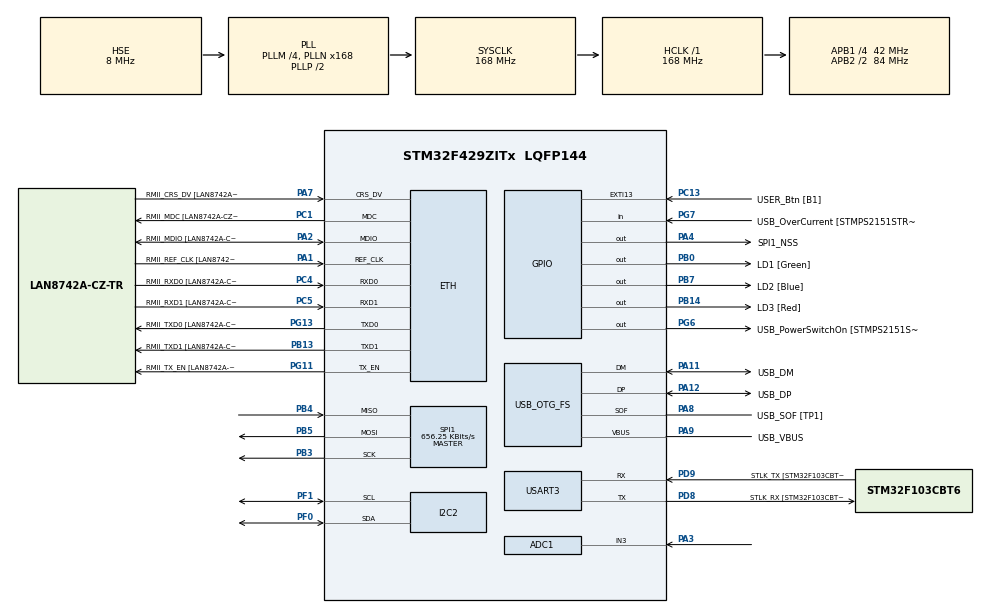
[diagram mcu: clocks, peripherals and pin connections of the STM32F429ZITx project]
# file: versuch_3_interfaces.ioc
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ADC1.Channel-0\#ChannelRegularConversion=ADC_CHANNEL_3
ADC1.ContinuousConvMode=ENABLE
ADC1.NbrOfConversionFlag=1
ADC1.Rank-0\#ChannelRegularConversion=1
ADC1.SamplingTime-0\#ChannelRegularConversion=ADC_SAMPLETIME_3CYCLES
ADC1.master=1
ETH.MediaInterface=HAL_ETH_RMII_MODE
ETH.PHY_Name=LAN8742A_PHY_ADDRESS
ETH.PHY_Value=0
ETH.PhyAddress=0
I2C2.I2C_Mode=I2C_Standard
Mcu.Family=STM32F4
Mcu.Name=STM32F429ZITx
Mcu.Package=LQFP144
NVIC.ADC_IRQn=true\:0\:0\:false\:false\:true\:true\:true\:true
NVIC.PriorityGroup=NVIC_PRIORITYGROUP_4
NVIC.SPI1_IRQn=true\:0\:0\:false\:false\:true\:true\:true\:true
PA1.GPIO_Label=RMII_REF_CLK [LAN8742A-CZ-TR_REFCLK0]
PA1.Mode=RMII
PA1.Signal=ETH_REF_CLK
PA10.GPIO_Label=USB_ID
PA10.Signal=USB_OTG_FS_ID
PA11.GPIO_Label=USB_DM
PA11.Mode=Device_Only
PA11.Signal=USB_OTG_FS_DM
PA12.GPIO_Label=USB_DP
PA12.Mode=Device_Only
PA12.Signal=USB_OTG_FS_DP
PA13.GPIO_Label=TMS
PA13.Mode=Serial_Wire
PA13.Signal=SYS_JTMS-SWDIO
PA14.GPIO_Label=TCK
PA14.Mode=Serial_Wire
PA14.Signal=SYS_JTCK-SWCLK
PA2.GPIO_Label=RMII_MDIO [LAN8742A-CZ-TR_MDIO]
PA2.Mode=RMII
PA2.Signal=ETH_MDIO
PA3.Signal=ADCx_IN3
PA4.GPIO_Label=SPI1_NSS
PA4.PinState=GPIO_PIN_SET
PA4.Signal=GPIO_Output
PA7.GPIO_Label=RMII_CRS_DV [LAN8742A-CZ-TR_CRS_DV]
PA7.Mode=RMII
PA7.Signal=ETH_CRS_DV
PA8.GPIO_Label=USB_SOF [TP1]
PA8.Mode=Activate_SOF_FS
PA8.Signal=USB_OTG_FS_SOF
PA9.GPIO_Label=USB_VBUS
PA9.Mode=Activate_VBUS
PA9.Signal=USB_OTG_FS_VBUS
PB0.GPIO_Label=LD1 [Green]
PB0.Signal=GPIO_Output
PB13.GPIO_Label=RMII_TXD1 [LAN8742A-CZ-TR_TXD1]
PB13.Mode=RMII
PB13.Signal=ETH_TXD1
PB14.GPIO_Label=LD3 [Red]
PB14.Signal=GPIO_Output
PB3.Mode=Full_Duplex_Master
PB3.Signal=SPI1_SCK
PB4.Mode=Full_Duplex_Master
PB4.Signal=SPI1_MISO
PB5.Mode=Full_Duplex_Master
PB5.Signal=SPI1_MOSI
PB7.GPIO_Label=LD2 [Blue]
PB7.Signal=GPIO_Output
PC1.GPIO_Label=RMII_MDC [LAN8742A-CZ-TR_MDC]
PC1.Mode=RMII
PC1.Signal=ETH_MDC
PC13.GPIO_Label=USER_Btn [B1]
PC13.Signal=GPXTI13
PC14/OSC32_IN.Mode=LSE-External-Oscillator
PC14/OSC32_IN.Signal=RCC_OSC32_IN
PC15/OSC32_OUT.Mode=LSE-External-Oscillator
PC15/OSC32_OUT.Signal=RCC_OSC32_OUT
PC4.GPIO_Label=RMII_RXD0 [LAN8742A-CZ-TR_RXD0]
PC4.Mode=RMII
PC4.Signal=ETH_RXD0
PC5.GPIO_Label=RMII_RXD1 [LAN8742A-CZ-TR_RXD1]
PC5.Mode=RMII
PC5.Signal=ETH_RXD1
PD8.GPIO_Label=STLK_RX [STM32F103CBT6_PA3]
PD8.Mode=Asynchronous
PD8.Signal=USART3_TX
PD9.GPIO_Label=STLK_TX [STM32F103CBT6_PA2]
PD9.Mode=Asynchronous
PD9.Signal=USART3_RX
PF0.Mode=I2C
PF0.Signal=I2C2_SDA
PF1.Mode=I2C
PF1.Signal=I2C2_SCL
PG11.GPIO_Label=RMII_TX_EN [LAN8742A-CZ-TR_TXEN]
PG11.Mode=RMII
PG11.Signal=ETH_TX_EN
PG13.GPIO_Label=RMII_TXD0 [LAN8742A-CZ-TR_TXD0]
PG13.Mode=RMII
PG13.Signal=ETH_TXD0
PG6.GPIO_Label=USB_PowerSwitchOn [STMPS2151STR_EN]
PG6.Signal=GPIO_Output
PG7.GPIO_Label=USB_OverCurrent [STMPS2151STR_FAULT]
PG7.Signal=GPIO_Input
PH0/OSC_IN.GPIO_Label=MCO [STM32F103CBT6_PA8]
PH0/OSC_IN.Mode=HSE-External-Clock-Source
PH0/OSC_IN.Signal=RCC_OSC_IN
PH1/OSC_OUT.Mode=HSE-External-Clock-Source
PH1/OSC_OUT.Signal=RCC_OSC_OUT
ProjectManager.HeapSize=0x200
ProjectManager.StackSize=0x400
ProjectManager.TargetToolchain=STM32CubeIDE
RCC.48MHZClocksFreq_Value=48000000
RCC.AHBFreq_Value=168000000
RCC.APB1CLKDivider=RCC_HCLK_DIV4
RCC.APB1Freq_Value=42000000
RCC.APB1TimFreq_Value=84000000
RCC.APB2CLKDivider=RCC_HCLK_DIV2
RCC.APB2Freq_Value=84000000
RCC.APB2TimCLKDivider=2
RCC.APB2TimFreq_Value=168000000
RCC.CortexFreq_Value=168000000
RCC.HCLKFreq_Value=168000000
RCC.HSE_VALUE=8000000
RCC.HSI_VALUE=16000000
RCC.PLLM=4
RCC.PLLMUL=RCC_PLL_MUL9
RCC.PLLN=168
RCC.PLLQ=7
RCC.PRESCALERUSB=RCC_USBCLKSOURCE_PLL_DIV1_5
RCC.SYSCLKFreq_VALUE=168000000
RCC.SYSCLKSource=RCC_SYSCLKSOURCE_PLLCLK
RCC.SYSCLKSourceVirtual=RCC_SYSCLKSOURCE_PLLCLK
RCC.USBFreq_Value=48000000
RCC.VCOOutputFreq_Value=336000000
SH.ADCx_IN3.0=ADC1_IN3,IN3
SPI1.BaudRatePrescaler=SPI_BAUDRATEPRESCALER_128
SPI1.CRCCalculation=SPI_CRCCALCULATION_DISABLE
SPI1.CalculateBaudRate=656.25 KBits/s
SPI1.DataSize=SPI_DATASIZE_8BIT
SPI1.Direction=SPI_DIRECTION_2LINES
SPI1.Mode=SPI_MODE_MASTER
SPI1.VirtualType=VM_MASTER
USART3.VirtualMode=VM_ASYNC
USB_OTG_FS.VirtualMode=Device_Only
board=NUCLEO-F429ZI

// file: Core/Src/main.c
/* USER CODE BEGIN Header */
/**
  ******************************************************************************
  * @file           : main.c
  * @brief          : Main program body
  ******************************************************************************
  * @attention
  *
  * Copyright (c) 2024 STMicroelectronics.
  * All rights reserved.
  *
  * This software is licensed under terms that can be found in the LICENSE file
  * in the root directory of this software component.
  * If no LICENSE file comes with this software, it is provided AS-IS.
  *
  ******************************************************************************
  */
/* USER CODE END Header */
#include "main.h"
#include "string.h"

/* USER CODE BEGIN Includes */
#include "lcd.h"
#include "bmp280.h"
#include <stdio.h>
#include <stdlib.h>
/* USER CODE END Includes */

ETH_TxPacketConfig TxConfig;
ETH_DMADescTypeDef  DMARxDscrTab[ETH_RX_DESC_CNT]; /* Ethernet Rx DMA Descriptors */
ETH_DMADescTypeDef  DMATxDscrTab[ETH_TX_DESC_CNT]; /* Ethernet Tx DMA Descriptors */

ADC_HandleTypeDef hadc1;

ETH_HandleTypeDef heth;

I2C_HandleTypeDef hi2c2;

SPI_HandleTypeDef hspi1;

UART_HandleTypeDef huart3;

PCD_HandleTypeDef hpcd_USB_OTG_FS;

/* USER CODE BEGIN PV */
static int adcVal;
static char msg[32];
BMP280_HandleTypedef hbmp280;
LCD_HandleTypeDef lcd;

static float temp;
static float press;
static float humid;

/* USER CODE END PV */

void SystemClock_Config(void);
static void MX_GPIO_Init(void);
static void MX_ETH_Init(void);
static void MX_USART3_UART_Init(void);
static void MX_USB_OTG_FS_PCD_Init(void);
static void MX_ADC1_Init(void);
static void MX_I2C2_Init(void);
static void MX_SPI1_Init(void);

int main(void)
{

  /* MCU Configuration--------------------------------------------------------*/

  /* Reset of all peripherals, Initializes the Flash interface and the Systick. */
  HAL_Init();

  /* Configure the system clock */
  SystemClock_Config();

  /* Initialize all configured peripherals */
  MX_GPIO_Init();
  MX_ETH_Init();
  MX_USART3_UART_Init();
  MX_USB_OTG_FS_PCD_Init();
  MX_ADC1_Init();
  MX_I2C2_Init();
  MX_SPI1_Init();
  /* USER CODE BEGIN 2 */

  int status=0;

  hbmp280.spi = &hspi1;
  bmp280_init_default_params(&hbmp280.params);
  status = status | bmp280_init(&hbmp280, &hbmp280.params);

  lcd.i2c = &hi2c2;
  lcd.backlight_enable = 1;
  lcd.i2c_addr = LCD_DEFAULT_ADDR;

  LCD_Begin(&lcd);
  LCD_Test(&lcd);
  LCD_Clear(&lcd);

  if(!status){
	  sprintf(msg, "BMP280 Com Error");
	  LCD_Print(&lcd, msg);
	  exit(1);

  }

  //LCD_SetCursor(&lcd, 0, 0);
  /* USER CODE END 2 */

  /* Infinite loop */
  /* USER CODE BEGIN WHILE */
  while (1)
  {

	  HAL_ADC_Start_IT(&hadc1);
	  LCD_Clear(&lcd);
	  sprintf(msg, "ADC: %d", adcVal);
	  LCD_Print(&lcd, msg);
	  LCD_SetCursor(&lcd, 1, 0);
	  sprintf(msg, "Temp:%.1f, Pre:%.1f, Humid:%.1f", temp, press, humid);
	  LCD_Print(&lcd, msg);
	  HAL_Delay(100);

	  //LCD_Print(&lcd, "asd");
	  /*HAL_ADC_Start_IT(&hadc1);
	  if (HAL_ADC_PollForConversion(&hadc1, HAL_MAX_DELAY) == HAL_OK){
		  adcVal = HAL_ADC_GetValue(&hadc1);
		  if (adcVal > 2047){
			  HAL_GPIO_WritePin(LD1_GPIO_Port, LD1_Pin, GPIO_PIN_SET);
		  }
		  else{
			  HAL_GPIO_WritePin(LD1_GPIO_Port, LD1_Pin, GPIO_PIN_RESET);
		  }
	  }
	  HAL_Delay(1000);
	  HAL_ADC_Stop(&hadc1);*/
    /* USER CODE END WHILE */

  }
}

void SystemClock_Config(void)
{
  RCC_OscInitTypeDef RCC_OscInitStruct = {0};
  RCC_ClkInitTypeDef RCC_ClkInitStruct = {0};

  /** Configure the main internal regulator output voltage
  */
  __HAL_RCC_PWR_CLK_ENABLE();
  __HAL_PWR_VOLTAGESCALING_CONFIG(PWR_REGULATOR_VOLTAGE_SCALE1);

  /** Initializes the RCC Oscillators according to the specified parameters
  * in the RCC_OscInitTypeDef structure.
  */
  RCC_OscInitStruct.OscillatorType = RCC_OSCILLATORTYPE_HSE;
  RCC_OscInitStruct.HSEState = RCC_HSE_BYPASS;
  RCC_OscInitStruct.PLL.PLLState = RCC_PLL_ON;
  RCC_OscInitStruct.PLL.PLLSource = RCC_PLLSOURCE_HSE;
  RCC_OscInitStruct.PLL.PLLM = 4;
  RCC_OscInitStruct.PLL.PLLN = 168;
  RCC_OscInitStruct.PLL.PLLP = RCC_PLLP_DIV2;
  RCC_OscInitStruct.PLL.PLLQ = 7;
  if (HAL_RCC_OscConfig(&RCC_OscInitStruct) != HAL_OK)
  {
    Error_Handler();
  }

  /** Initializes the CPU, AHB and APB buses clocks
  */
  RCC_ClkInitStruct.ClockType = RCC_CLOCKTYPE_HCLK|RCC_CLOCKTYPE_SYSCLK
                              |RCC_CLOCKTYPE_PCLK1|RCC_CLOCKTYPE_PCLK2;
  RCC_ClkInitStruct.SYSCLKSource = RCC_SYSCLKSOURCE_PLLCLK;
  RCC_ClkInitStruct.AHBCLKDivider = RCC_SYSCLK_DIV1;
  RCC_ClkInitStruct.APB1CLKDivider = RCC_HCLK_DIV4;
  RCC_ClkInitStruct.APB2CLKDivider = RCC_HCLK_DIV2;

  if (HAL_RCC_ClockConfig(&RCC_ClkInitStruct, FLASH_LATENCY_5) != HAL_OK)
  {
    Error_Handler();
  }
}

static void MX_ADC1_Init(void)
{

  ADC_ChannelConfTypeDef sConfig = {0};

  /** Configure the global features of the ADC (Clock, Resolution, Data Alignment and number of conversion)
  */
  hadc1.Instance = ADC1;
  hadc1.Init.ClockPrescaler = ADC_CLOCK_SYNC_PCLK_DIV4;
  hadc1.Init.Resolution = ADC_RESOLUTION_12B;
  hadc1.Init.ScanConvMode = DISABLE;
  hadc1.Init.ContinuousConvMode = ENABLE;
  hadc1.Init.DiscontinuousConvMode = DISABLE;
  hadc1.Init.ExternalTrigConvEdge = ADC_EXTERNALTRIGCONVEDGE_NONE;
  hadc1.Init.ExternalTrigConv = ADC_SOFTWARE_START;
  hadc1.Init.DataAlign = ADC_DATAALIGN_RIGHT;
  hadc1.Init.NbrOfConversion = 1;
  hadc1.Init.DMAContinuousRequests = DISABLE;
  hadc1.Init.EOCSelection = ADC_EOC_SINGLE_CONV;
  if (HAL_ADC_Init(&hadc1) != HAL_OK)
  {
    Error_Handler();
  }

  /** Configure for the selected ADC regular channel its corresponding rank in the sequencer and its sample time.
  */
  sConfig.Channel = ADC_CHANNEL_3;
  sConfig.Rank = 1;
  sConfig.SamplingTime = ADC_SAMPLETIME_3CYCLES;
  if (HAL_ADC_ConfigChannel(&hadc1, &sConfig) != HAL_OK)
  {
    Error_Handler();
  }

}

static void MX_ETH_Init(void)
{

   static uint8_t MACAddr[6];

  heth.Instance = ETH;
  MACAddr[0] = 0x00;
  MACAddr[1] = 0x80;
  MACAddr[2] = 0xE1;
  MACAddr[3] = 0x00;
  MACAddr[4] = 0x00;
  MACAddr[5] = 0x00;
  heth.Init.MACAddr = &MACAddr[0];
  heth.Init.MediaInterface = HAL_ETH_RMII_MODE;
  heth.Init.TxDesc = DMATxDscrTab;
  heth.Init.RxDesc = DMARxDscrTab;
  heth.Init.RxBuffLen = 1524;

  if (HAL_ETH_Init(&heth) != HAL_OK)
  {
    Error_Handler();
  }

  memset(&TxConfig, 0 , sizeof(ETH_TxPacketConfig));
  TxConfig.Attributes = ETH_TX_PACKETS_FEATURES_CSUM | ETH_TX_PACKETS_FEATURES_CRCPAD;
  TxConfig.ChecksumCtrl = ETH_CHECKSUM_IPHDR_PAYLOAD_INSERT_PHDR_CALC;
  TxConfig.CRCPadCtrl = ETH_CRC_PAD_INSERT;

}

static void MX_I2C2_Init(void)
{

  hi2c2.Instance = I2C2;
  hi2c2.Init.ClockSpeed = 100000;
  hi2c2.Init.DutyCycle = I2C_DUTYCYCLE_2;
  hi2c2.Init.OwnAddress1 = 0;
  hi2c2.Init.AddressingMode = I2C_ADDRESSINGMODE_7BIT;
  hi2c2.Init.DualAddressMode = I2C_DUALADDRESS_DISABLE;
  hi2c2.Init.OwnAddress2 = 0;
  hi2c2.Init.GeneralCallMode = I2C_GENERALCALL_DISABLE;
  hi2c2.Init.NoStretchMode = I2C_NOSTRETCH_DISABLE;
  if (HAL_I2C_Init(&hi2c2) != HAL_OK)
  {
    Error_Handler();
  }

  /** Configure Analogue filter
  */
  if (HAL_I2CEx_ConfigAnalogFilter(&hi2c2, I2C_ANALOGFILTER_ENABLE) != HAL_OK)
  {
    Error_Handler();
  }

  /** Configure Digital filter
  */
  if (HAL_I2CEx_ConfigDigitalFilter(&hi2c2, 0) != HAL_OK)
  {
    Error_Handler();
  }

}

static void MX_SPI1_Init(void)
{

  /* SPI1 parameter configuration*/
  hspi1.Instance = SPI1;
  hspi1.Init.Mode = SPI_MODE_MASTER;
  hspi1.Init.Direction = SPI_DIRECTION_2LINES;
  hspi1.Init.DataSize = SPI_DATASIZE_8BIT;
  hspi1.Init.CLKPolarity = SPI_POLARITY_LOW;
  hspi1.Init.CLKPhase = SPI_PHASE_1EDGE;
  hspi1.Init.NSS = SPI_NSS_SOFT;
  hspi1.Init.BaudRatePrescaler = SPI_BAUDRATEPRESCALER_128;
  hspi1.Init.FirstBit = SPI_FIRSTBIT_MSB;
  hspi1.Init.TIMode = SPI_TIMODE_DISABLE;
  hspi1.Init.CRCCalculation = SPI_CRCCALCULATION_DISABLE;
  hspi1.Init.CRCPolynomial = 10;
  if (HAL_SPI_Init(&hspi1) != HAL_OK)
  {
    Error_Handler();
  }

}

static void MX_USART3_UART_Init(void)
{

  huart3.Instance = USART3;
  huart3.Init.BaudRate = 115200;
  huart3.Init.WordLength = UART_WORDLENGTH_8B;
  huart3.Init.StopBits = UART_STOPBITS_1;
  huart3.Init.Parity = UART_PARITY_NONE;
  huart3.Init.Mode = UART_MODE_TX_RX;
  huart3.Init.HwFlowCtl = UART_HWCONTROL_NONE;
  huart3.Init.OverSampling = UART_OVERSAMPLING_16;
  if (HAL_UART_Init(&huart3) != HAL_OK)
  {
    Error_Handler();
  }

}

static void MX_USB_OTG_FS_PCD_Init(void)
{

  hpcd_USB_OTG_FS.Instance = USB_OTG_FS;
  hpcd_USB_OTG_FS.Init.dev_endpoints = 4;
  hpcd_USB_OTG_FS.Init.speed = PCD_SPEED_FULL;
  hpcd_USB_OTG_FS.Init.dma_enable = DISABLE;
  hpcd_USB_OTG_FS.Init.phy_itface = PCD_PHY_EMBEDDED;
  hpcd_USB_OTG_FS.Init.Sof_enable = ENABLE;
  hpcd_USB_OTG_FS.Init.low_power_enable = DISABLE;
  hpcd_USB_OTG_FS.Init.lpm_enable = DISABLE;
  hpcd_USB_OTG_FS.Init.vbus_sensing_enable = ENABLE;
  hpcd_USB_OTG_FS.Init.use_dedicated_ep1 = DISABLE;
  if (HAL_PCD_Init(&hpcd_USB_OTG_FS) != HAL_OK)
  {
    Error_Handler();
  }

}

static void MX_GPIO_Init(void)
{
  GPIO_InitTypeDef GPIO_InitStruct = {0};

  /* GPIO Ports Clock Enable */
  __HAL_RCC_GPIOC_CLK_ENABLE();
  __HAL_RCC_GPIOF_CLK_ENABLE();
  __HAL_RCC_GPIOH_CLK_ENABLE();
  __HAL_RCC_GPIOA_CLK_ENABLE();
  __HAL_RCC_GPIOB_CLK_ENABLE();
  __HAL_RCC_GPIOD_CLK_ENABLE();
  __HAL_RCC_GPIOG_CLK_ENABLE();

  /*Configure GPIO pin Output Level */
  HAL_GPIO_WritePin(SPI1_NSS_GPIO_Port, SPI1_NSS_Pin, GPIO_PIN_SET);

  /*Configure GPIO pin Output Level */
  HAL_GPIO_WritePin(GPIOB, LD1_Pin|LD3_Pin|LD2_Pin, GPIO_PIN_RESET);

  /*Configure GPIO pin Output Level */
  HAL_GPIO_WritePin(USB_PowerSwitchOn_GPIO_Port, USB_PowerSwitchOn_Pin, GPIO_PIN_RESET);

  /*Configure GPIO pin : USER_Btn_Pin */
  GPIO_InitStruct.Pin = USER_Btn_Pin;
  GPIO_InitStruct.Mode = GPIO_MODE_IT_RISING;
  GPIO_InitStruct.Pull = GPIO_NOPULL;
  HAL_GPIO_Init(USER_Btn_GPIO_Port, &GPIO_InitStruct);

  /*Configure GPIO pin : SPI1_NSS_Pin */
  GPIO_InitStruct.Pin = SPI1_NSS_Pin;
  GPIO_InitStruct.Mode = GPIO_MODE_OUTPUT_PP;
  GPIO_InitStruct.Pull = GPIO_NOPULL;
  GPIO_InitStruct.Speed = GPIO_SPEED_FREQ_LOW;
  HAL_GPIO_Init(SPI1_NSS_GPIO_Port, &GPIO_InitStruct);

  /*Configure GPIO pins : LD1_Pin LD3_Pin LD2_Pin */
  GPIO_InitStruct.Pin = LD1_Pin|LD3_Pin|LD2_Pin;
  GPIO_InitStruct.Mode = GPIO_MODE_OUTPUT_PP;
  GPIO_InitStruct.Pull = GPIO_NOPULL;
  GPIO_InitStruct.Speed = GPIO_SPEED_FREQ_LOW;
  HAL_GPIO_Init(GPIOB, &GPIO_InitStruct);

  /*Configure GPIO pin : USB_PowerSwitchOn_Pin */
  GPIO_InitStruct.Pin = USB_PowerSwitchOn_Pin;
  GPIO_InitStruct.Mode = GPIO_MODE_OUTPUT_PP;
  GPIO_InitStruct.Pull = GPIO_NOPULL;
  GPIO_InitStruct.Speed = GPIO_SPEED_FREQ_LOW;
  HAL_GPIO_Init(USB_PowerSwitchOn_GPIO_Port, &GPIO_InitStruct);

  /*Configure GPIO pin : USB_OverCurrent_Pin */
  GPIO_InitStruct.Pin = USB_OverCurrent_Pin;
  GPIO_InitStruct.Mode = GPIO_MODE_INPUT;
  GPIO_InitStruct.Pull = GPIO_NOPULL;
  HAL_GPIO_Init(USB_OverCurrent_GPIO_Port, &GPIO_InitStruct);

}

/* USER CODE BEGIN 4 */

void HAL_ADC_ConvCpltCallback(ADC_HandleTypeDef *hadc){
	adcVal = HAL_ADC_GetValue(&hadc1);
	if (adcVal > 2047){
	  HAL_GPIO_WritePin(LD1_GPIO_Port, LD1_Pin, GPIO_PIN_SET);
	}
	else{
	  HAL_GPIO_WritePin(LD1_GPIO_Port, LD1_Pin, GPIO_PIN_RESET);
	}
	bmp280_read_float(&hbmp280, &temp, &press, &humid);

}

/* USER CODE END 4 */

void Error_Handler(void)
{
  __disable_irq();
  while (1)
  {
  }
}
